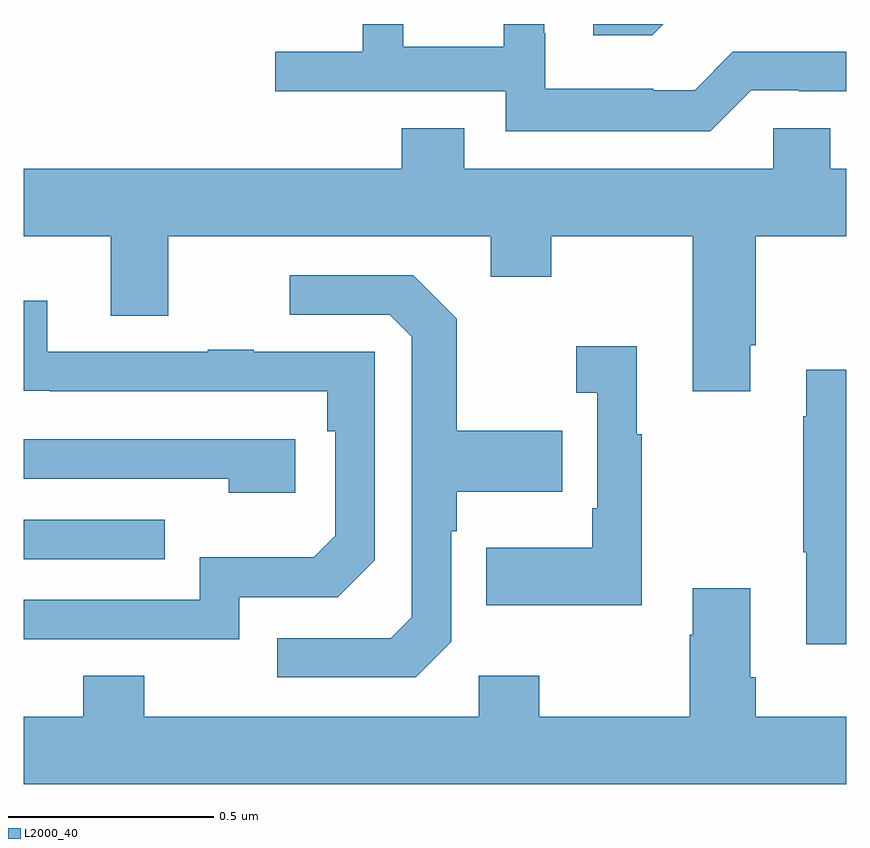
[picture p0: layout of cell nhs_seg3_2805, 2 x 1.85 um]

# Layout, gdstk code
import gdstk
lib = gdstk.Library(unit=1e-6, precision=1e-09)
def R(c, l, rs):  # rectangles x0, y0, x1, y1
    for r in rs: c.add(gdstk.rectangle(r[:2], r[2:], *l))
def P(c, l, *ps):  # polygons
    for p in ps: c.add(gdstk.Polygon(p, *l))
L2000_40 = (2000, 40)

nhs_seg3_2805 = lib.new_cell('nhs_seg3_2805')
R(nhs_seg3_2805, L2000_40, [(145,732.099,145.343,732.195)])
P(nhs_seg3_2805, L2000_40, [(146.769,733.239),(146.885,733.239),(146.885,733.236),(147,733.236),(147,733.332),(146.724,733.332),(146.631,733.239),(146.531,733.239),(146.531,733.243),(146.268,733.243),(146.268,733.377),(146.266,733.377),(146.266,733.4),(146.167,733.4),(146.167,733.345),(145.923,733.345),(145.923,733.4),(145.824,733.4),(145.824,733.332),(145.611,733.332),(145.611,733.236),(146.172,733.236),(146.172,733.139),(146.669,733.139)],
  [(146.555,733.4),(146.385,733.4),(146.385,733.373),(146.528,733.373)],
  [(146.767,732.619),(146.78,732.619),(146.78,732.884),(147,732.884),(147,733.048),(146.961,733.048),(146.961,733.146),(146.823,733.146),(146.823,733.048),(146.071,733.048),(146.071,733.147),(145.919,733.147),(145.919,733.048),(145,733.048),(145,732.884),(145.211,732.884),(145.211,732.69),(145.351,732.69),(145.351,732.884),(146.135,732.884),(146.135,732.785),(146.283,732.785),(146.283,732.884),(146.627,732.884),(146.627,732.507),(146.767,732.507)],
  [(146.04,731.898),(146.04,732.167),(146.053,732.167),(146.053,732.263),(146.309,732.263),(146.309,732.411),(146.053,732.411),(146.053,732.683),(145.947,732.789),(145.647,732.789),(145.647,732.693),(145.89,732.693),(145.944,732.639),(145.944,731.958),(145.893,731.907),(145.617,731.907),(145.617,731.811),(145.953,731.811)],
  [(145.524,732.006),(145.764,732.006),(145.854,732.096),(145.854,732.603),(145.559,732.603),(145.559,732.608),(145.447,732.608),(145.447,732.603),(145.057,732.603),(145.057,732.727),(145,732.727),(145,732.508),(145.063,732.508),(145.063,732.507),(145.738,732.507),(145.738,732.41),(145.758,732.41),(145.758,732.156),(145.705,732.103),(145.428,732.103),(145.428,732),(145,732),(145,731.904),(145.524,731.904)],
  [(146.503,732.403),(146.491,732.403),(146.491,732.616),(146.343,732.616),(146.343,732.503),(146.394,732.503),(146.394,732.223),(146.382,732.223),(146.382,732.127),(146.125,732.127),(146.125,731.987),(146.503,731.987)],
  [(147,732.559),(146.903,732.559),(146.903,732.446),(146.896,732.446),(146.896,732.115),(146.903,732.115),(146.903,731.892),(147,731.892)],
  [(145.66,732.39),(145,732.39),(145,732.294),(145.499,732.294),(145.499,732.26),(145.66,732.26)],
  [(145.145,731.815),(145.145,731.716),(145,731.716),(145,731.552),(147,731.552),(147,731.716),(146.78,731.716),(146.78,731.812),(146.767,731.812),(146.767,732.028),(146.627,732.028),(146.627,731.915),(146.62,731.915),(146.62,731.716),(146.253,731.716),(146.253,731.815),(146.106,731.815),(146.106,731.716),(145.293,731.716),(145.293,731.815)])

lib.write_gds('nhs_seg3_2805.gds')
